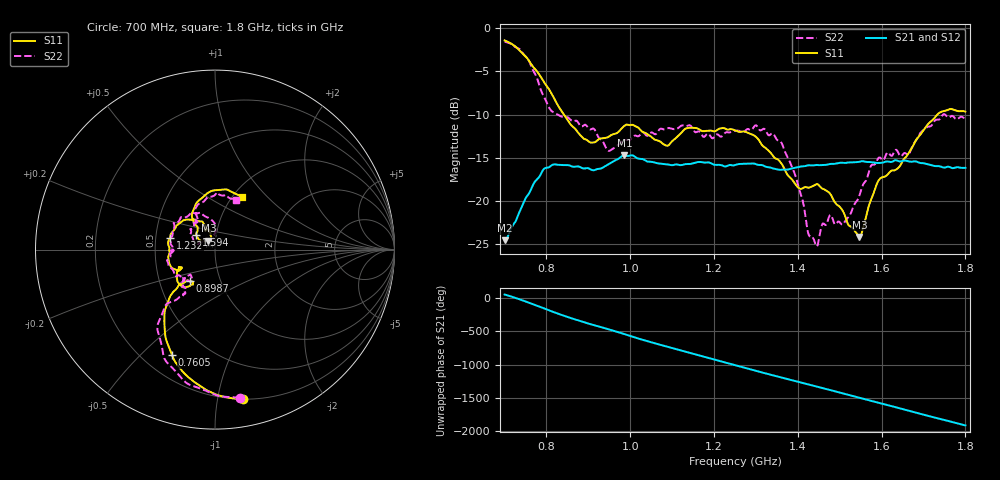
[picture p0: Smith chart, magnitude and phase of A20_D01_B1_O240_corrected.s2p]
! Created with skrf 1.9.0 (http://scikit-rf.org).
# Hz S RI R 50.0
!freq ReS11 ImS11 ReS21 ImS21 ReS12 ImS12 ReS22 ImS22
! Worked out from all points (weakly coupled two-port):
!   1601 points, 700 MHz to 1.8 GHz, reference 50 ohm
!   highest |S21| = -14.68 dB at 986 MHz (marker M1); lowest = -24.6 dB at 700 MHz (marker M2)
!   lowest |S11| = -24.2 dB at 1.547 GHz (marker M3), VSWR 1.13, Z = 46.3 + j4.65 ohm
!   |S11| at or under -10 dB: 841.6 MHz to 1.733 GHz (891.1 MHz wide, 69.2 % of centre)
!   |S22| runs from -25.2 to -1.5 dB; largest |S21 - S12| = 0.0037
!   S11 on the Smith chart (normalised r, x): 700 MHz: 0.20, -1.19; 760.5 MHz: 0.32, -0.62; 898.7 MHz: 0.72, -0.27; 1.232 GHz: 0.59, +0.08; 1.594 GHz: 0.80, +0.13; 1.8 GHz: 1.11, +0.73
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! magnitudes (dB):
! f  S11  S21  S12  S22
! 700 MHz  -1.4  -24.6  -24.3  -1.5
! 760.5 MHz  -4.0  -18.9  -18.8  -4.0
! 810.7 MHz  -7.5  -15.9  -15.8  -9.5
! 883.6 MHz  -12.5  -16.2  -16.0  -11.4
! 898.7 MHz  -13.0  -16.2  -16.3  -11.5
! 948.2 MHz  -12.6  -15.7  -15.8  -14.2
! 986 MHz  -11.3  -14.7  -14.8  -13.0
! 1.067 GHz  -13.0  -15.7  -15.6  -11.9
! 1.232 GHz  -11.7  -15.9  -15.9  -12.0
! 1.25 GHz  -11.8  -15.8  -15.8  -11.9
! 1.36 GHz  -15.6  -16.4  -16.4  -13.2
! 1.401 GHz  -18.5  -16.1  -16.1  -18.3
! 1.434 GHz  -18.3  -15.9  -15.9  -24.1
! 1.446 GHz  -18.0  -15.8  -15.8  -25.2
! 1.477 GHz  -19.1  -15.7  -15.7  -21.7
! 1.509 GHz  -21.3  -15.6  -15.6  -22.6
! 1.547 GHz  -24.2  -15.5  -15.4  -19.4
! 1.594 GHz  -17.5  -15.6  -15.6  -15.0
! 1.617 GHz  -16.8  -15.4  -15.4  -14.4
! 1.664 GHz  -14.5  -15.4  -15.4  -14.6
! 1.736 GHz  -9.8  -16.0  -16.0  -10.6
! 1.8 GHz  -9.7  -16.2  -16.2  -10.5
